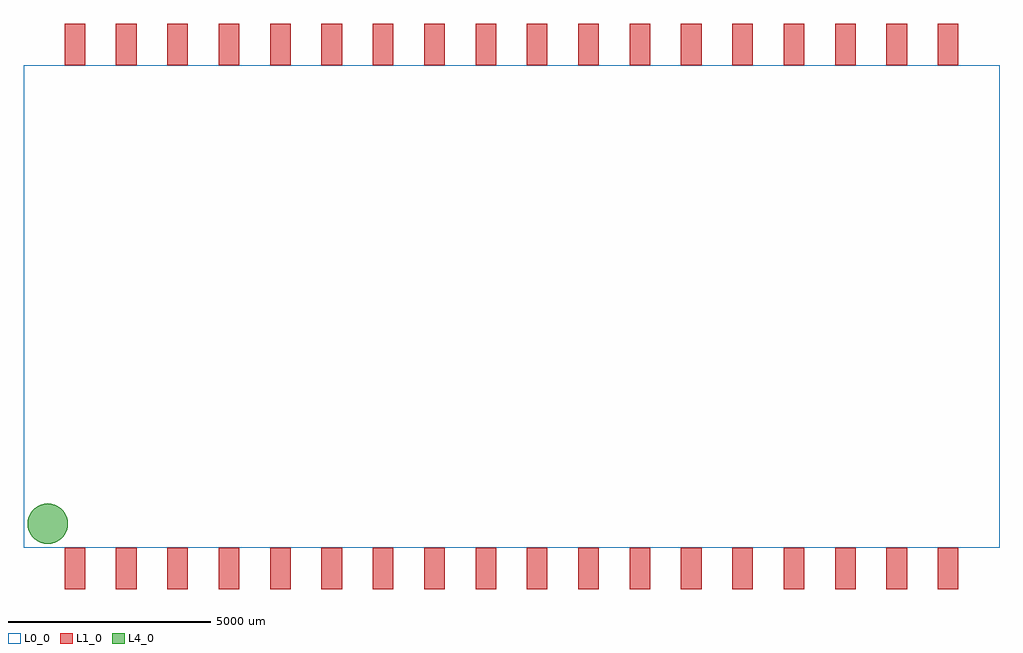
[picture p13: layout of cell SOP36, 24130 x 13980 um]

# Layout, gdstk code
import gdstk
lib = gdstk.Library(unit=1e-6, precision=1e-09)
def R(c, l, rs):  # rectangles x0, y0, x1, y1
    for r in rs: c.add(gdstk.rectangle(r[:2], r[2:], *l))
def A(c, l, x, y, w, h, nx, ny, dx, dy):  # array of equal rectangles
    R(c, l, [(x+i*dx, y+j*dy, x+i*dx+w, y+j*dy+h) for i in range(nx) for j in range(ny)])
def P(c, l, *ps):  # polygons
    for p in ps: c.add(gdstk.Polygon(p, *l))
L0_0 = (0, 0)
L1_0 = (1, 0)
L4_0 = (4, 0)
L99_1 = (99, 1)
L99_2 = (99, 2)
L99_3 = (99, 3)
L99_4 = (99, 4)
L99_5 = (99, 5)
L99_6 = (99, 6)
L99_7 = (99, 7)
L99_8 = (99, 8)
L99_9 = (99, 9)
L99_10 = (99, 10)
L99_11 = (99, 11)
L99_12 = (99, 12)
L99_13 = (99, 13)
L99_14 = (99, 14)
L99_15 = (99, 15)
L99_16 = (99, 16)
L99_17 = (99, 17)
L99_18 = (99, 18)
L99_19 = (99, 19)
L99_20 = (99, 20)
L99_21 = (99, 21)
L99_22 = (99, 22)
L99_23 = (99, 23)
L99_24 = (99, 24)
L99_25 = (99, 25)
L99_26 = (99, 26)
L99_27 = (99, 27)
L99_28 = (99, 28)
L99_29 = (99, 29)
L99_30 = (99, 30)
L99_31 = (99, 31)
L99_32 = (99, 32)
L99_33 = (99, 33)
L99_34 = (99, 34)
L99_35 = (99, 35)
L99_36 = (99, 36)

sop36 = lib.new_cell('SOP36')
R(sop36, L0_0, [(0,0,24130,11940)])
A(sop36, L1_0, 1015, -1020, 510, 1020, 18, 2, 1270, 12960)
P(sop36, L4_0, [(1100,600),(1092.404,513.176),(1069.846,428.99),(1033.013,350),(983.022,278.606),(921.394,216.978),(850,166.987),(771.01,130.154),(686.824,107.596),(600,100),(513.176,107.596),(428.99,130.154),(350,166.987),(278.606,216.978),(216.978,278.606),(166.987,350),(130.154,428.99),(107.596,513.176),(100,600),(107.596,686.824),(130.154,771.01),(166.987,850),(216.978,921.394),(278.606,983.022),(350,1033.013),(428.99,1069.846),(513.176,1092.404),(600,1100),(686.824,1092.404),(771.01,1069.846),(850,1033.013),(921.394,983.022),(983.022,921.394),(1033.013,850),(1069.846,771.01),(1092.404,686.824)])
sop36.add(gdstk.FlexPath([(1525,0),(1015,0)], 0, ends="round", simple_path=True, layer=99, datatype=1))  # L99_1
sop36.add(gdstk.FlexPath([(2795,0),(2285,0)], 0, ends="round", simple_path=True, layer=99, datatype=2))  # L99_2
sop36.add(gdstk.FlexPath([(4065,0),(3555,0)], 0, ends="round", simple_path=True, layer=99, datatype=3))  # L99_3
sop36.add(gdstk.FlexPath([(5335,0),(4825,0)], 0, ends="round", simple_path=True, layer=99, datatype=4))  # L99_4
sop36.add(gdstk.FlexPath([(6605,0),(6095,0)], 0, ends="round", simple_path=True, layer=99, datatype=5))  # L99_5
sop36.add(gdstk.FlexPath([(7875,0),(7365,0)], 0, ends="round", simple_path=True, layer=99, datatype=6))  # L99_6
sop36.add(gdstk.FlexPath([(9145,0),(8635,0)], 0, ends="round", simple_path=True, layer=99, datatype=7))  # L99_7
sop36.add(gdstk.FlexPath([(10415,0),(9905,0)], 0, ends="round", simple_path=True, layer=99, datatype=8))  # L99_8
sop36.add(gdstk.FlexPath([(11685,0),(11175,0)], 0, ends="round", simple_path=True, layer=99, datatype=9))  # L99_9
sop36.add(gdstk.FlexPath([(12955,0),(12445,0)], 0, ends="round", simple_path=True, layer=99, datatype=10))  # L99_10
sop36.add(gdstk.FlexPath([(14225,0),(13715,0)], 0, ends="round", simple_path=True, layer=99, datatype=11))  # L99_11
sop36.add(gdstk.FlexPath([(15495,0),(14985,0)], 0, ends="round", simple_path=True, layer=99, datatype=12))  # L99_12
sop36.add(gdstk.FlexPath([(16765,0),(16255,0)], 0, ends="round", simple_path=True, layer=99, datatype=13))  # L99_13
sop36.add(gdstk.FlexPath([(18035,0),(17525,0)], 0, ends="round", simple_path=True, layer=99, datatype=14))  # L99_14
sop36.add(gdstk.FlexPath([(19305,0),(18795,0)], 0, ends="round", simple_path=True, layer=99, datatype=15))  # L99_15
sop36.add(gdstk.FlexPath([(20575,0),(20065,0)], 0, ends="round", simple_path=True, layer=99, datatype=16))  # L99_16
sop36.add(gdstk.FlexPath([(21845,0),(21335,0)], 0, ends="round", simple_path=True, layer=99, datatype=17))  # L99_17
sop36.add(gdstk.FlexPath([(23115,0),(22605,0)], 0, ends="round", simple_path=True, layer=99, datatype=18))  # L99_18
sop36.add(gdstk.FlexPath([(1015,11940),(1525,11940)], 0, ends="round", simple_path=True, layer=99, datatype=36))  # L99_36
sop36.add(gdstk.FlexPath([(2285,11940),(2795,11940)], 0, ends="round", simple_path=True, layer=99, datatype=35))  # L99_35
sop36.add(gdstk.FlexPath([(3555,11940),(4065,11940)], 0, ends="round", simple_path=True, layer=99, datatype=34))  # L99_34
sop36.add(gdstk.FlexPath([(4825,11940),(5335,11940)], 0, ends="round", simple_path=True, layer=99, datatype=33))  # L99_33
sop36.add(gdstk.FlexPath([(6095,11940),(6605,11940)], 0, ends="round", simple_path=True, layer=99, datatype=32))  # L99_32
sop36.add(gdstk.FlexPath([(7365,11940),(7875,11940)], 0, ends="round", simple_path=True, layer=99, datatype=31))  # L99_31
sop36.add(gdstk.FlexPath([(8635,11940),(9145,11940)], 0, ends="round", simple_path=True, layer=99, datatype=30))  # L99_30
sop36.add(gdstk.FlexPath([(9905,11940),(10415,11940)], 0, ends="round", simple_path=True, layer=99, datatype=29))  # L99_29
sop36.add(gdstk.FlexPath([(11175,11940),(11685,11940)], 0, ends="round", simple_path=True, layer=99, datatype=28))  # L99_28
sop36.add(gdstk.FlexPath([(12445,11940),(12955,11940)], 0, ends="round", simple_path=True, layer=99, datatype=27))  # L99_27
sop36.add(gdstk.FlexPath([(13715,11940),(14225,11940)], 0, ends="round", simple_path=True, layer=99, datatype=26))  # L99_26
sop36.add(gdstk.FlexPath([(14985,11940),(15495,11940)], 0, ends="round", simple_path=True, layer=99, datatype=25))  # L99_25
sop36.add(gdstk.FlexPath([(16255,11940),(16765,11940)], 0, ends="round", simple_path=True, layer=99, datatype=24))  # L99_24
sop36.add(gdstk.FlexPath([(17525,11940),(18035,11940)], 0, ends="round", simple_path=True, layer=99, datatype=23))  # L99_23
sop36.add(gdstk.FlexPath([(18795,11940),(19305,11940)], 0, ends="round", simple_path=True, layer=99, datatype=22))  # L99_22
sop36.add(gdstk.FlexPath([(20065,11940),(20575,11940)], 0, ends="round", simple_path=True, layer=99, datatype=21))  # L99_21
sop36.add(gdstk.FlexPath([(21335,11940),(21845,11940)], 0, ends="round", simple_path=True, layer=99, datatype=20))  # L99_20
sop36.add(gdstk.FlexPath([(22605,11940),(23115,11940)], 0, ends="round", simple_path=True, layer=99, datatype=19))  # L99_19

lib.write_gds('SOP36.gds')
